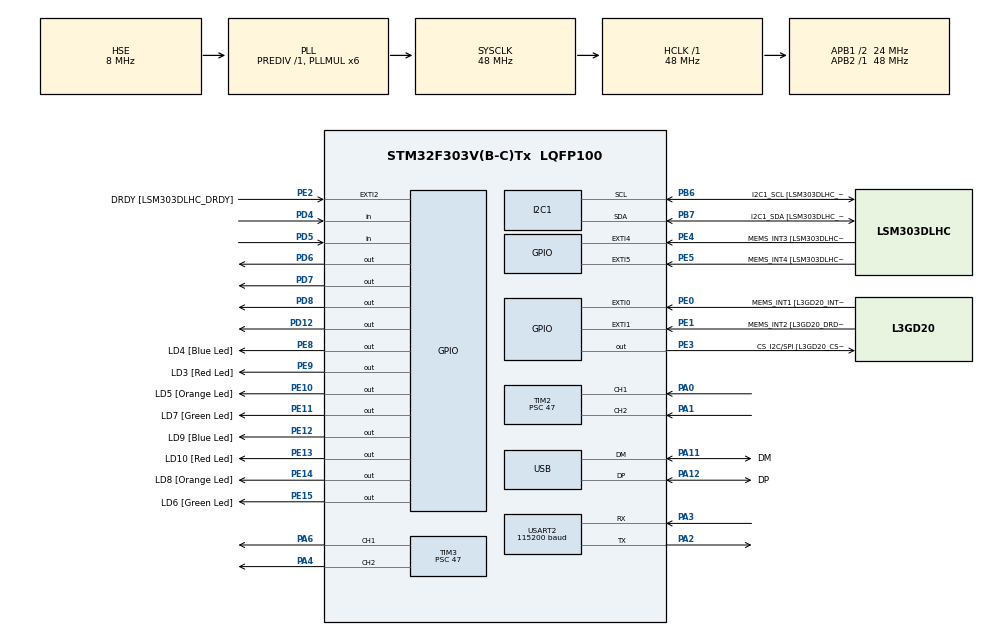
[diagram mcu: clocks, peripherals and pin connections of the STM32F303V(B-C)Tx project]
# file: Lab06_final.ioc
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I2C1.Timing=0x2000090E
I2C1.Timing-I2C=0x2000090E
Mcu.Family=STM32F3
Mcu.Name=STM32F303V(B-C)Tx
Mcu.Package=LQFP100
NVIC.PriorityGroup=NVIC_PRIORITYGROUP_0
NVIC.TIM2_IRQn=true\:0\:0\:false\:false\:true\:true\:true\:true
NVIC.USB_LP_CAN_RX0_IRQn=true\:0\:0\:false\:false\:true\:false\:true\:true
PA0.Signal=S_TIM2_CH1_ETR
PA1.Signal=S_TIM2_CH2
PA11.GPIO_Label=DM
PA11.Mode=Device
PA11.Signal=USB_DM
PA12.GPIO_Label=DP
PA12.Mode=Device
PA12.Signal=USB_DP
PA13.GPIO_Label=SWDIO
PA13.Mode=Serial_Wire
PA13.Signal=SYS_JTMS-SWDIO
PA14.GPIO_Label=SWCLK
PA14.Mode=Serial_Wire
PA14.Signal=SYS_JTCK-SWCLK
PA2.Mode=Asynchronous
PA2.Signal=USART2_TX
PA3.Mode=Asynchronous
PA3.Signal=USART2_RX
PA4.Signal=S_TIM3_CH2
PA5.GPIO_Label=SPI1_SCK [L3GD20_SCL/SPC]
PA5.Signal=SPI1_SCK
PA6.Signal=S_TIM3_CH1
PA7.GPIO_Label=SPI1_MISO [L3GD20_SDA/SDI/SDO]
PA7.Signal=SPI1_MOSI
PB3.GPIO_Label=SWO
PB3.Signal=SYS_JTDO-TRACESWO
PB6.GPIO_Label=I2C1_SCL [LSM303DLHC_SCL]
PB6.GPIO_Pu=GPIO_PULLUP
PB6.Mode=I2C
PB6.Signal=I2C1_SCL
PB7.GPIO_Label=I2C1_SDA [LSM303DLHC_SDA]
PB7.GPIO_Pu=GPIO_PULLUP
PB7.Mode=I2C
PB7.Signal=I2C1_SDA
PC14-OSC32_IN.GPIO_Label=OSC32_IN
PC14-OSC32_IN.Signal=RCC_OSC32_IN
PC15-OSC32_OUT.GPIO_Label=OSC32_OUT
PC15-OSC32_OUT.Signal=RCC_OSC32_OUT
PD12.Signal=GPIO_Output
PD4.Signal=GPIO_Input
PD5.Signal=GPIO_Input
PD6.Signal=GPIO_Output
PD7.Signal=GPIO_Output
PD8.Signal=GPIO_Output
PE0.GPIO_Label=MEMS_INT1 [L3GD20_INT1]
PE0.GPIO_ModeDefaultEXTI=GPIO_MODE_EVT_RISING
PE0.Signal=GPXTI0
PE1.GPIO_Label=MEMS_INT2 [L3GD20_DRDY/INT2]
PE1.GPIO_ModeDefaultEXTI=GPIO_MODE_EVT_RISING
PE1.Signal=GPXTI1
PE10.GPIO_Label=LD5 [Orange Led]
PE10.Signal=GPIO_Output
PE11.GPIO_Label=LD7 [Green Led]
PE11.Signal=GPIO_Output
PE12.GPIO_Label=LD9 [Blue Led]
PE12.Signal=GPIO_Output
PE13.GPIO_Label=LD10 [Red Led]
PE13.Signal=GPIO_Output
PE14.GPIO_Label=LD8 [Orange Led]
PE14.Signal=GPIO_Output
PE15.GPIO_Label=LD6 [Green Led]
PE15.Signal=GPIO_Output
PE2.GPIO_Label=DRDY [LSM303DLHC_DRDY]
PE2.GPIO_ModeDefaultEXTI=GPIO_MODE_EVT_RISING
PE2.Signal=GPXTI2
PE3.GPIO_Label=CS_I2C/SPI [L3GD20_CS_I2C/SPI]
PE3.Signal=GPIO_Output
PE4.GPIO_Label=MEMS_INT3 [LSM303DLHC_INT1]
PE4.GPIO_ModeDefaultEXTI=GPIO_MODE_EVT_RISING
PE4.Signal=GPXTI4
PE5.GPIO_Label=MEMS_INT4 [LSM303DLHC_INT2]
PE5.GPIO_ModeDefaultEXTI=GPIO_MODE_EVT_RISING
PE5.Signal=GPXTI5
PE8.GPIO_Label=LD4 [Blue Led]
PE8.Signal=GPIO_Output
PE9.GPIO_Label=LD3 [Red Led]
PE9.Signal=GPIO_Output
PF0-OSC_IN.GPIO_Label=OSC_IN
PF0-OSC_IN.Mode=HSE-External-Clock-Source
PF0-OSC_IN.Signal=RCC_OSC_IN
PF1-OSC_OUT.GPIO_Label=OSC_OUT
PF1-OSC_OUT.Signal=RCC_OSC_OUT
ProjectManager.HeapSize=0x200
ProjectManager.StackSize=0x400
ProjectManager.TargetToolchain=CMake
RCC.AHBFreq_Value=48000000
RCC.APB1CLKDivider=RCC_HCLK_DIV2
RCC.APB1Freq_Value=24000000
RCC.APB1TimFreq_Value=48000000
RCC.APB2Freq_Value=48000000
RCC.APB2TimFreq_Value=48000000
RCC.CortexFreq_Value=48000000
RCC.HCLKFreq_Value=48000000
RCC.HSE_VALUE=8000000
RCC.HSI_VALUE=8000000
RCC.LSE_VALUE=32768
RCC.PLLMUL=RCC_PLL_MUL6
RCC.SYSCLKFreq_VALUE=48000000
RCC.SYSCLKSourceVirtual=RCC_SYSCLKSOURCE_PLLCLK
RCC.USBFreq_Value=48000000
SH.S_TIM2_CH1_ETR.0=TIM2_CH1,Input_Capture1_from_TI1
SH.S_TIM2_CH2.0=TIM2_CH2,Input_Capture2_from_TI2
SH.S_TIM3_CH1.0=TIM3_CH1,PWM Generation1 CH1
SH.S_TIM3_CH2.0=TIM3_CH2,PWM Generation2 CH2
TIM2.Channel-Input_Capture1_from_TI1=TIM_CHANNEL_1
TIM2.Channel-Input_Capture2_from_TI2=TIM_CHANNEL_2
TIM2.Period=4294967295
TIM2.Prescaler=47
TIM3.Channel-PWM\ Generation1\ CH1=TIM_CHANNEL_1
TIM3.Channel-PWM\ Generation2\ CH2=TIM_CHANNEL_2
TIM3.Period=999
TIM3.Prescaler=47
TIM3.Pulse-PWM\ Generation1\ CH1=0
TIM3.Pulse-PWM\ Generation2\ CH2=0
USART2.BaudRate=115200
USART2.VirtualMode-Asynchronous=VM_ASYNC
USB_DEVICE.CLASS_NAME_FS=CDC
USB_DEVICE.VirtualMode=Cdc
USB_DEVICE.VirtualModeFS=Cdc_FS
VP_TIM2_VS_ClockSourceINT.Mode=Internal
VP_USB_DEVICE_VS_USB_DEVICE_CDC_FS.Mode=CDC_FS
board=STM32F3DISCOVERY

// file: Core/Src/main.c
/* USER CODE BEGIN Header */
/**
  ******************************************************************************
  * @file           : main.c
  * @brief          : Main program body
  ******************************************************************************
  * @attention
  *
  * Copyright (c) 2026 STMicroelectronics.
  * All rights reserved.
  *
  * This software is licensed under terms that can be found in the LICENSE file
  * in the root directory of this software component.
  * If no LICENSE file comes with this software, it is provided AS-IS.
  *
  ******************************************************************************
  */
/* USER CODE END Header */
#include "main.h"
#include "usb_device.h"

/* USER CODE BEGIN Includes */
#include <stdint.h>
#include "stdarg.h"
#include "stdio.h"
#include "stm32f3xx_hal.h"
#include "string.h"
#include "math.h"
/* USER CODE END Includes */

I2C_HandleTypeDef hi2c1;

TIM_HandleTypeDef htim2;
TIM_HandleTypeDef htim3;

UART_HandleTypeDef huart2;

void SystemClock_Config(void);
static void MX_GPIO_Init(void);
static void MX_I2C1_Init(void);
static void MX_USART2_UART_Init(void);
static void MX_TIM2_Init(void);
static void MX_TIM3_Init(void);

/* USER CODE BEGIN 0 */
void RightMotor_Backward(uint16_t speed);
void RightMotor_Forward(uint16_t speed);
void RightMotor_Stop(void);
void LeftMotor_Forward(uint16_t speed);
void LeftMotor_Backward(uint16_t speed);
void LeftMotor_Stop(void);
void myPrintf(const char *fmt, ...);

void HAL_TIM_IC_CaptureCallback ( TIM_HandleTypeDef *htim);
uint32_t last_capture_right = 0, period_right = 0;
uint32_t last_capture_left = 0, period_left = 0;
#define PPR 330
/* USER CODE END 0 */

int main(void)
{

  /* MCU Configuration--------------------------------------------------------*/

  /* Reset of all peripherals, Initializes the Flash interface and the Systick. */

  HAL_Init();

  /* Configure the system clock */
  SystemClock_Config();

  /* Initialize all configured peripherals */
  MX_GPIO_Init();
  MX_I2C1_Init();
  MX_USART2_UART_Init();
  MX_USB_DEVICE_Init();
  MX_TIM2_Init();
  MX_TIM3_Init();
  /* USER CODE BEGIN 2 */
  HAL_TIM_PWM_Start(&htim3, TIM_CHANNEL_1);

  HAL_TIM_IC_Start_IT(&htim2, TIM_CHANNEL_1);

  /* USER CODE END 2 */

  /* Infinite loop */
  /* USER CODE BEGIN WHILE */
  while (1)
  {
    //LeftMotor_Forward(999);
    RightMotor_Forward(500);

    if (period_left > 0)
    {
      float freq = 1000000.0f / period_left;
      float rpm  = (60.0f * freq) / PPR;

      myPrintf("LEFT -> period: %lu, freq: %.2f, rpm: %.2f\r\n",period_left, freq, rpm);
    }

    /* USER CODE END WHILE */

  }
}

void SystemClock_Config(void)
{
  RCC_OscInitTypeDef RCC_OscInitStruct = {0};
  RCC_ClkInitTypeDef RCC_ClkInitStruct = {0};
  RCC_PeriphCLKInitTypeDef PeriphClkInit = {0};

  /** Initializes the RCC Oscillators according to the specified parameters
  * in the RCC_OscInitTypeDef structure.
  */
  RCC_OscInitStruct.OscillatorType = RCC_OSCILLATORTYPE_HSI|RCC_OSCILLATORTYPE_HSE;
  RCC_OscInitStruct.HSEState = RCC_HSE_BYPASS;
  RCC_OscInitStruct.HSEPredivValue = RCC_HSE_PREDIV_DIV1;
  RCC_OscInitStruct.HSIState = RCC_HSI_ON;
  RCC_OscInitStruct.HSICalibrationValue = RCC_HSICALIBRATION_DEFAULT;
  RCC_OscInitStruct.PLL.PLLState = RCC_PLL_ON;
  RCC_OscInitStruct.PLL.PLLSource = RCC_PLLSOURCE_HSE;
  RCC_OscInitStruct.PLL.PLLMUL = RCC_PLL_MUL6;
  if (HAL_RCC_OscConfig(&RCC_OscInitStruct) != HAL_OK)
  {
    Error_Handler();
  }

  /** Initializes the CPU, AHB and APB buses clocks
  */
  RCC_ClkInitStruct.ClockType = RCC_CLOCKTYPE_HCLK|RCC_CLOCKTYPE_SYSCLK
                              |RCC_CLOCKTYPE_PCLK1|RCC_CLOCKTYPE_PCLK2;
  RCC_ClkInitStruct.SYSCLKSource = RCC_SYSCLKSOURCE_PLLCLK;
  RCC_ClkInitStruct.AHBCLKDivider = RCC_SYSCLK_DIV1;
  RCC_ClkInitStruct.APB1CLKDivider = RCC_HCLK_DIV2;
  RCC_ClkInitStruct.APB2CLKDivider = RCC_HCLK_DIV1;

  if (HAL_RCC_ClockConfig(&RCC_ClkInitStruct, FLASH_LATENCY_1) != HAL_OK)
  {
    Error_Handler();
  }
  PeriphClkInit.PeriphClockSelection = RCC_PERIPHCLK_USB|RCC_PERIPHCLK_USART2
                              |RCC_PERIPHCLK_I2C1;
  PeriphClkInit.Usart2ClockSelection = RCC_USART2CLKSOURCE_PCLK1;
  PeriphClkInit.I2c1ClockSelection = RCC_I2C1CLKSOURCE_HSI;
  PeriphClkInit.USBClockSelection = RCC_USBCLKSOURCE_PLL;
  if (HAL_RCCEx_PeriphCLKConfig(&PeriphClkInit) != HAL_OK)
  {
    Error_Handler();
  }
}

static void MX_I2C1_Init(void)
{

  hi2c1.Instance = I2C1;
  hi2c1.Init.Timing = 0x2000090E;
  hi2c1.Init.OwnAddress1 = 0;
  hi2c1.Init.AddressingMode = I2C_ADDRESSINGMODE_7BIT;
  hi2c1.Init.DualAddressMode = I2C_DUALADDRESS_DISABLE;
  hi2c1.Init.OwnAddress2 = 0;
  hi2c1.Init.OwnAddress2Masks = I2C_OA2_NOMASK;
  hi2c1.Init.GeneralCallMode = I2C_GENERALCALL_DISABLE;
  hi2c1.Init.NoStretchMode = I2C_NOSTRETCH_DISABLE;
  if (HAL_I2C_Init(&hi2c1) != HAL_OK)
  {
    Error_Handler();
  }

  /** Configure Analogue filter
  */
  if (HAL_I2CEx_ConfigAnalogFilter(&hi2c1, I2C_ANALOGFILTER_ENABLE) != HAL_OK)
  {
    Error_Handler();
  }

  /** Configure Digital filter
  */
  if (HAL_I2CEx_ConfigDigitalFilter(&hi2c1, 0) != HAL_OK)
  {
    Error_Handler();
  }

}

static void MX_TIM2_Init(void)
{

  TIM_ClockConfigTypeDef sClockSourceConfig = {0};
  TIM_MasterConfigTypeDef sMasterConfig = {0};
  TIM_IC_InitTypeDef sConfigIC = {0};

  htim2.Instance = TIM2;
  htim2.Init.Prescaler = 47;
  htim2.Init.CounterMode = TIM_COUNTERMODE_UP;
  htim2.Init.Period = 4294967295;
  htim2.Init.ClockDivision = TIM_CLOCKDIVISION_DIV1;
  htim2.Init.AutoReloadPreload = TIM_AUTORELOAD_PRELOAD_DISABLE;
  if (HAL_TIM_Base_Init(&htim2) != HAL_OK)
  {
    Error_Handler();
  }
  sClockSourceConfig.ClockSource = TIM_CLOCKSOURCE_INTERNAL;
  if (HAL_TIM_ConfigClockSource(&htim2, &sClockSourceConfig) != HAL_OK)
  {
    Error_Handler();
  }
  if (HAL_TIM_IC_Init(&htim2) != HAL_OK)
  {
    Error_Handler();
  }
  sMasterConfig.MasterOutputTrigger = TIM_TRGO_RESET;
  sMasterConfig.MasterSlaveMode = TIM_MASTERSLAVEMODE_DISABLE;
  if (HAL_TIMEx_MasterConfigSynchronization(&htim2, &sMasterConfig) != HAL_OK)
  {
    Error_Handler();
  }
  sConfigIC.ICPolarity = TIM_INPUTCHANNELPOLARITY_RISING;
  sConfigIC.ICSelection = TIM_ICSELECTION_DIRECTTI;
  sConfigIC.ICPrescaler = TIM_ICPSC_DIV1;
  sConfigIC.ICFilter = 10;
  if (HAL_TIM_IC_ConfigChannel(&htim2, &sConfigIC, TIM_CHANNEL_1) != HAL_OK)
  {
    Error_Handler();
  }
  if (HAL_TIM_IC_ConfigChannel(&htim2, &sConfigIC, TIM_CHANNEL_2) != HAL_OK)
  {
    Error_Handler();
  }

}

static void MX_TIM3_Init(void)
{

  TIM_MasterConfigTypeDef sMasterConfig = {0};
  TIM_OC_InitTypeDef sConfigOC = {0};

  htim3.Instance = TIM3;
  htim3.Init.Prescaler = 47;
  htim3.Init.CounterMode = TIM_COUNTERMODE_UP;
  htim3.Init.Period = 999;
  htim3.Init.ClockDivision = TIM_CLOCKDIVISION_DIV1;
  htim3.Init.AutoReloadPreload = TIM_AUTORELOAD_PRELOAD_DISABLE;
  if (HAL_TIM_PWM_Init(&htim3) != HAL_OK)
  {
    Error_Handler();
  }
  sMasterConfig.MasterOutputTrigger = TIM_TRGO_RESET;
  sMasterConfig.MasterSlaveMode = TIM_MASTERSLAVEMODE_DISABLE;
  if (HAL_TIMEx_MasterConfigSynchronization(&htim3, &sMasterConfig) != HAL_OK)
  {
    Error_Handler();
  }
  sConfigOC.OCMode = TIM_OCMODE_PWM1;
  sConfigOC.Pulse = 0;
  sConfigOC.OCPolarity = TIM_OCPOLARITY_HIGH;
  sConfigOC.OCFastMode = TIM_OCFAST_DISABLE;
  if (HAL_TIM_PWM_ConfigChannel(&htim3, &sConfigOC, TIM_CHANNEL_1) != HAL_OK)
  {
    Error_Handler();
  }
  if (HAL_TIM_PWM_ConfigChannel(&htim3, &sConfigOC, TIM_CHANNEL_2) != HAL_OK)
  {
    Error_Handler();
  }
  HAL_TIM_MspPostInit(&htim3);

}

static void MX_USART2_UART_Init(void)
{

  huart2.Instance = USART2;
  huart2.Init.BaudRate = 115200;
  huart2.Init.WordLength = UART_WORDLENGTH_8B;
  huart2.Init.StopBits = UART_STOPBITS_1;
  huart2.Init.Parity = UART_PARITY_NONE;
  huart2.Init.Mode = UART_MODE_TX_RX;
  huart2.Init.HwFlowCtl = UART_HWCONTROL_NONE;
  huart2.Init.OverSampling = UART_OVERSAMPLING_16;
  huart2.Init.OneBitSampling = UART_ONE_BIT_SAMPLE_DISABLE;
  huart2.AdvancedInit.AdvFeatureInit = UART_ADVFEATURE_NO_INIT;
  if (HAL_UART_Init(&huart2) != HAL_OK)
  {
    Error_Handler();
  }

}

static void MX_GPIO_Init(void)
{
  GPIO_InitTypeDef GPIO_InitStruct = {0};

  /* GPIO Ports Clock Enable */
  __HAL_RCC_GPIOE_CLK_ENABLE();
  __HAL_RCC_GPIOC_CLK_ENABLE();
  __HAL_RCC_GPIOF_CLK_ENABLE();
  __HAL_RCC_GPIOA_CLK_ENABLE();
  __HAL_RCC_GPIOD_CLK_ENABLE();
  __HAL_RCC_GPIOB_CLK_ENABLE();

  /*Configure GPIO pin Output Level */
  HAL_GPIO_WritePin(GPIOE, CS_I2C_SPI_Pin|LD4_Pin|LD3_Pin|LD5_Pin
                          |LD7_Pin|LD9_Pin|LD10_Pin|LD8_Pin
                          |LD6_Pin, GPIO_PIN_RESET);

  /*Configure GPIO pin Output Level */
  HAL_GPIO_WritePin(GPIOD, GPIO_PIN_8|GPIO_PIN_12|GPIO_PIN_6|GPIO_PIN_7, GPIO_PIN_RESET);

  /*Configure GPIO pins : DRDY_Pin MEMS_INT3_Pin MEMS_INT4_Pin MEMS_INT1_Pin
                           MEMS_INT2_Pin */
  GPIO_InitStruct.Pin = DRDY_Pin|MEMS_INT3_Pin|MEMS_INT4_Pin|MEMS_INT1_Pin
                          |MEMS_INT2_Pin;
  GPIO_InitStruct.Mode = GPIO_MODE_EVT_RISING;
  GPIO_InitStruct.Pull = GPIO_NOPULL;
  HAL_GPIO_Init(GPIOE, &GPIO_InitStruct);

  /*Configure GPIO pins : CS_I2C_SPI_Pin LD4_Pin LD3_Pin LD5_Pin
                           LD7_Pin LD9_Pin LD10_Pin LD8_Pin
                           LD6_Pin */
  GPIO_InitStruct.Pin = CS_I2C_SPI_Pin|LD4_Pin|LD3_Pin|LD5_Pin
                          |LD7_Pin|LD9_Pin|LD10_Pin|LD8_Pin
                          |LD6_Pin;
  GPIO_InitStruct.Mode = GPIO_MODE_OUTPUT_PP;
  GPIO_InitStruct.Pull = GPIO_NOPULL;
  GPIO_InitStruct.Speed = GPIO_SPEED_FREQ_LOW;
  HAL_GPIO_Init(GPIOE, &GPIO_InitStruct);

  /*Configure GPIO pins : SPI1_SCK_Pin SPI1_MISO_Pin */
  GPIO_InitStruct.Pin = SPI1_SCK_Pin|SPI1_MISO_Pin;
  GPIO_InitStruct.Mode = GPIO_MODE_AF_PP;
  GPIO_InitStruct.Pull = GPIO_NOPULL;
  GPIO_InitStruct.Speed = GPIO_SPEED_FREQ_HIGH;
  GPIO_InitStruct.Alternate = GPIO_AF5_SPI1;
  HAL_GPIO_Init(GPIOA, &GPIO_InitStruct);

  /*Configure GPIO pins : PD8 PD12 PD6 PD7 */
  GPIO_InitStruct.Pin = GPIO_PIN_8|GPIO_PIN_12|GPIO_PIN_6|GPIO_PIN_7;
  GPIO_InitStruct.Mode = GPIO_MODE_OUTPUT_PP;
  GPIO_InitStruct.Pull = GPIO_NOPULL;
  GPIO_InitStruct.Speed = GPIO_SPEED_FREQ_LOW;
  HAL_GPIO_Init(GPIOD, &GPIO_InitStruct);

  /*Configure GPIO pins : PD4 PD5 */
  GPIO_InitStruct.Pin = GPIO_PIN_4|GPIO_PIN_5;
  GPIO_InitStruct.Mode = GPIO_MODE_INPUT;
  GPIO_InitStruct.Pull = GPIO_NOPULL;
  HAL_GPIO_Init(GPIOD, &GPIO_InitStruct);

}

/* USER CODE BEGIN 4 */
void RightMotor_Forward(uint16_t speed)
{
HAL_GPIO_WritePin(GPIOD, GPIO_PIN_8, GPIO_PIN_SET); // D8 HIGH
HAL_GPIO_WritePin(GPIOD, GPIO_PIN_12, GPIO_PIN_RESET); // D12 LOW

__HAL_TIM_SET_COMPARE(&htim3, TIM_CHANNEL_1, speed); // PWM speed
}

void RightMotor_Backward(uint16_t speed)
{
HAL_GPIO_WritePin(GPIOD, GPIO_PIN_8, GPIO_PIN_RESET); // D8 LOW
HAL_GPIO_WritePin(GPIOD, GPIO_PIN_12, GPIO_PIN_SET); // D12 HIGH

__HAL_TIM_SET_COMPARE(&htim3, TIM_CHANNEL_1, speed);
}

void RightMotor_Stop()
{
HAL_GPIO_WritePin(GPIOD, GPIO_PIN_8, GPIO_PIN_RESET);
HAL_GPIO_WritePin(GPIOD, GPIO_PIN_12, GPIO_PIN_RESET);

__HAL_TIM_SET_COMPARE(&htim3, TIM_CHANNEL_1, 0);
}

void LeftMotor_Forward(uint16_t speed)
{
HAL_GPIO_WritePin(GPIOD, GPIO_PIN_7, GPIO_PIN_SET); // D7 HIGH
HAL_GPIO_WritePin(GPIOD, GPIO_PIN_6, GPIO_PIN_RESET); // D6 LOW

__HAL_TIM_SET_COMPARE(&htim3, TIM_CHANNEL_2, speed); // PWM speed
}

void LeftMotor_Backward(uint16_t speed)
{
HAL_GPIO_WritePin(GPIOD, GPIO_PIN_7, GPIO_PIN_RESET); // D7 LOW
HAL_GPIO_WritePin(GPIOD, GPIO_PIN_6, GPIO_PIN_SET); // D6 HIGH

__HAL_TIM_SET_COMPARE(&htim3, TIM_CHANNEL_2, speed);
}

void LeftMotor_Stop(void)
{
HAL_GPIO_WritePin(GPIOD, GPIO_PIN_7, GPIO_PIN_RESET);
HAL_GPIO_WritePin(GPIOD, GPIO_PIN_6, GPIO_PIN_RESET);

__HAL_TIM_SET_COMPARE(&htim3, TIM_CHANNEL_2, 0);
}
/*
TIM2 channel 2 is connected to right motor encoder (PIN 9), channel 1 to left motor encoder (PIN8)
*/
volatile uint32_t capture1 = 0;
volatile uint32_t capture2 = 0;

void HAL_TIM_IC_CaptureCallback(TIM_HandleTypeDef *htim)
{
    // HAL_GPIO_TogglePin(GPIOE, GPIO_PIN_8); // debug LED

    if (htim->Instance == TIM2 && htim->Channel == HAL_TIM_ACTIVE_CHANNEL_1)
    {
        if (capture1 == 0)
        {
            // first edge
            capture1 = HAL_TIM_ReadCapturedValue(htim, TIM_CHANNEL_1);
        }
        else
        {
            // second edge
            capture2 = HAL_TIM_ReadCapturedValue(htim, TIM_CHANNEL_1);

            if (capture2 > capture1)
            {
                period_left = capture2 - capture1;
                capture1 = capture2;
            }
            else
            {
                // overflow or glitch → reset
                capture1 = 0;
            }
        }
    }
}

void myPrintf(const char *fmt, ...)
{
char buffer[256];
va_list argument;
va_start(argument, fmt);
vsnprintf(buffer, sizeof(buffer), fmt, argument);
HAL_UART_Transmit(&huart2, (uint8_t*)buffer, strlen(buffer), 100);
}
/* USER CODE END 4 */

void Error_Handler(void)
{
  __disable_irq();
  while (1)
  {
  }
}
